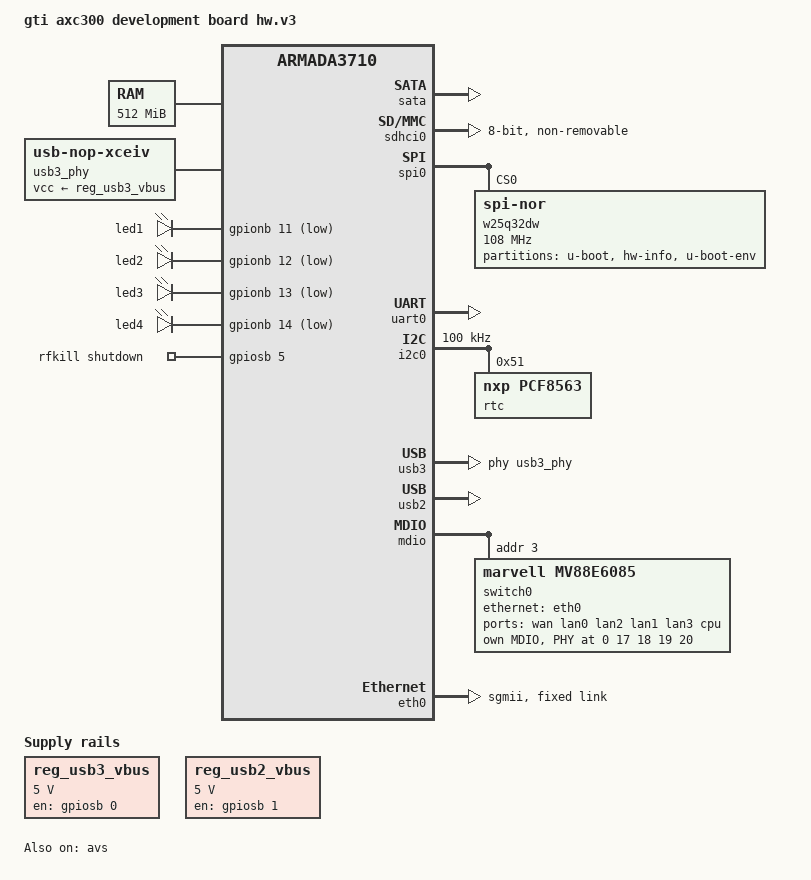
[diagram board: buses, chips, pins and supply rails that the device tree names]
// SPDX-License-Identifier: (GPL-2.0+ OR MIT)
/*
 * Device Tree file for Globalscale axc300 development board hw.v3
 * Copyright (C) 2016 Marvell
 *
 * Romain Perier <romain.perier@free-electrons.com>
 *
 */

/dts-v1/;

#include <dt-bindings/gpio/gpio.h>
#include "armada-372x.dtsi"

/ {
	model = "gti axc300 development board hw.v3";
	compatible = "gti,armada-3720-axc300-v3", "marvell,armada3720",
				 "marvell,armada3710";

	aliases {
		ethernet0 = &eth0;
		ethernet1 = &eth1;
		/* for dsa slave device */
		ethernet2 = &switch0port0;
		ethernet3 = &switch0port1;
		ethernet4 = &switch0port2;
		ethernet5 = &switch0port3;
		ethernet6 = &switch0port4;
	};

	chosen {
		stdout-path = "serial0:115200n8";
	};

	memory@0 {
		device_type = "memory";
		reg = <0x00000000 0x00000000 0x00000000 0x20000000>;
	};

	reg_usb3_vbus: usb3-vbus {
		compatible = "regulator-fixed";
		regulator-name = "usb3-vbus";
		regulator-min-microvolt = <5000000>;
		regulator-max-microvolt = <5000000>;
		enable-active-high;
		gpio = <&gpiosb 0 GPIO_ACTIVE_HIGH>;
	};

	reg_usb2_vbus: usb2-vbus {
		compatible = "regulator-fixed";
		regulator-name = "usb2-vbus";
		regulator-min-microvolt = <5000000>;
		regulator-max-microvolt = <5000000>;
		enable-active-high;
		regulator-always-on;
		regulator-boot-on;
		gpio = <&gpiosb 1 GPIO_ACTIVE_HIGH>;
	};

	usb3_phy: usb3-phy {
		compatible = "usb-nop-xceiv";
		vcc-supply = <&reg_usb3_vbus>;
	};

	gpio-leds {
		compatible = "gpio-leds";

		led1 {
			label = "led1";
			gpios = <&gpionb 11 GPIO_ACTIVE_LOW>;
			linux,default-trigger = "timer";
			blink_delay_off = <400>;
			blink_delay_on = <400>;
		};
		led2 {
			label = "led2";
			gpios = <&gpionb 12 GPIO_ACTIVE_LOW>;
			default-state = "off";
		};
		led3 {
			label = "led3";
			gpios = <&gpionb 13 GPIO_ACTIVE_LOW>;
			default-state = "off";
		};
		led4 {
			label = "led4";
			gpios = <&gpionb 14 GPIO_ACTIVE_LOW>;
			default-state = "off";
		};
	};

	rfkill {
		compatible = "rfkill-gpio";
		rfkill-name = "mt7632";
		rfkill-type = <1>;
		shutdown-gpios = <&gpiosb 5 GPIO_ACTIVE_HIGH>;
	};
};

&sata {
	status = "okay";
};

&sdhci0 {
	non-removable;
	bus-width = <8>;
	mmc-ddr-1_8v;
	mmc-hs400-1_8v;
	marvell,pad-type = "fixed-1-8v";
	status = "okay";
};

&sdhci1 {
	status = "disabled";
};

&spi0 {
	status = "okay";
	pinctrl-names = "default";
	pinctrl-0 = <&spi_quad_pins>;

	w25q32dw@0 {
		compatible = "jedec,spi-nor";
		reg = <0>;
		spi-max-frequency = <108000000>;
		spi-rx-bus-width = <4>;
		spi-tx-bus-width = <4>;
		m25p,fast-read;

		partitions {
			compatible = "fixed-partitions";
			#address-cells = <1>;
			#size-cells = <1>;

			partition@0 {
				label = "u-boot";
				reg = <0x0 0x3e0000>;
			};
			partition@3e0000 {
				label = "hw-info";
				reg = <0x3e0000 0x10000>;
				read-only;
			};
			partition@3f0000 {
				label = "u-boot-env";
				reg = <0x3f0000 0x10000>;
			};
		};
	};
};

&uart0 {
	pinctrl-names = "default";
	pinctrl-0 = <&uart1_pins>;
	status = "okay";
};

&i2c0 {
	pinctrl-names = "default";
	pinctrl-0 = <&i2c1_pins>;
	status = "okay";

	clock-frequency = <100000>;

	rtc@51 {
		compatible = "nxp,pcf8563";
		reg = <0x51>;
	};
};

&usb3 {
	usb-phy = <&usb3_phy>;
	status = "okay";
};

&usb2 {
	status = "okay";
};

&mdio {
	switch0: switch0@1 {
		compatible = "marvell,mv88e6085";
		#address-cells = <1>;
		#size-cells = <0>;
		reg = <3>;

		dsa,member = <0 0>;

		ports {
			#address-cells = <1>;
			#size-cells = <0>;

			switch0port0: port@0 {
				reg = <0>;
				label = "wan";
				phy-handle = <&switch0phy0>;
			};
			switch0port1: port@1 {
				reg = <1>;
				label = "lan0";
				phy-handle = <&switch0phy1>;
			};

			switch0port2: port@2 {
				reg = <2>;
				label = "lan2";
				phy-handle = <&switch0phy2>;
			};

			switch0port3: port@3 {
				reg = <3>;
				label = "lan1";
				phy-handle = <&switch0phy3>;
			};
			switch0port4: port@4 {
				reg = <4>;
				label = "lan3";
				phy-handle = <&switch0phy4>;
			};

			switch0port5: port@5 {
				reg = <5>;
				label = "cpu";
				ethernet = <&eth0>;
			};
		};

		mdio {
			#address-cells = <1>;
			#size-cells = <0>;

			switch0phy0: switch0phy0@0 {
				reg = <0>;
			};
			switch0phy1: switch0phy1@11 {
				reg = <0x11>;
			};
			switch0phy2: switch0phy2@12 {
				reg = <0x12>;
			};
			switch0phy3: switch0phy3@13 {
				reg = <0x13>;
			};
			switch0phy4: switch0phy4@14 {
				reg = <0x14>;
			};
		};
	};
};

&eth0 {
	phy-mode = "sgmii";
	status = "okay";

	fixed-link {
		speed = <1000>;
		full-duplex;
	};
};

&avs {
	status = "okay";
};

